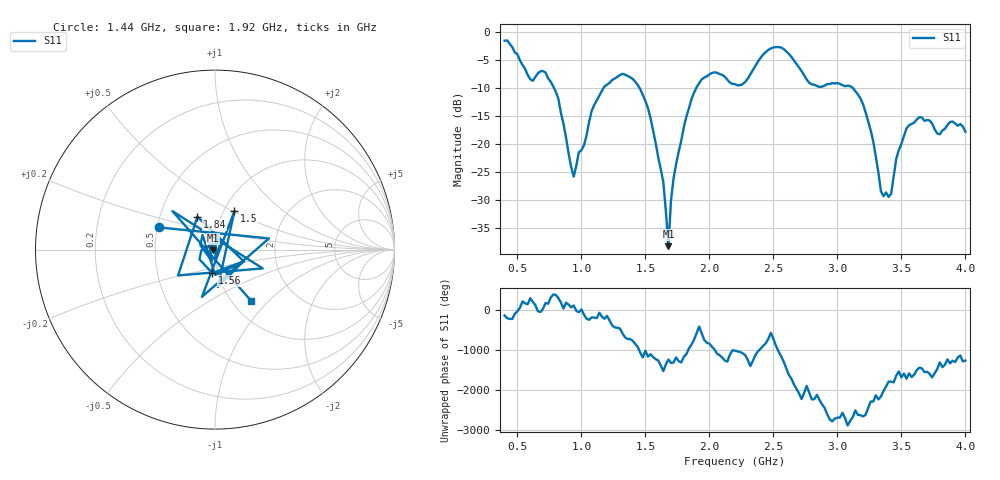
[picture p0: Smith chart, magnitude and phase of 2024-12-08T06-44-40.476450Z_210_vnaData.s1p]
!Created with skrf (http://scikit-rf.org).
# Hz S RI R 50.0
!freq ReS11 ImS11
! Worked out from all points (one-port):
!   181 points, 400 MHz to 4 GHz, reference 50 ohm
!   lowest |S11| = -38.2 dB at 1.68 GHz (marker M1), VSWR 1.02, Z = 48.9 - j0.461 ohm
!   |S11| at or under -10 dB: 785.4 MHz to 1.174 GHz (388.5 MHz wide, 39.7 % of centre); 1.453 GHz to 1.898 GHz (444.7 MHz wide, 26.5 % of centre); 3.12 GHz to end of sweep
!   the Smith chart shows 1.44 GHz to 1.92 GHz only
!   S11 on the Smith chart (normalised r, x): 1.44 GHz: 0.51, +0.14; 1.5 GHz: 1.12, +0.51; 1.56 GHz: 0.94, -0.25; 1.84 GHz: 0.77, +0.30; 1.92 GHz: 1.22, -0.79
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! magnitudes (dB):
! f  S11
! 400 MHz  -1.6
! 600 MHz  -8.5
! 720 MHz  -7.3
! 860 MHz  -16.4
! 940 MHz  -25.8
! 1.1 GHz  -13.1
! 1.3 GHz  -7.8
! 1.44 GHz  -9.5
! 1.5 GHz  -12.4
! 1.56 GHz  -17.6
! 1.64 GHz  -26.8
! 1.68 GHz  -38.2
! 1.7 GHz  -30.0
! 1.76 GHz  -21.4
! 1.84 GHz  -13.7
! 1.92 GHz  -9.2
! 2.04 GHz  -7.2
! 2.2 GHz  -9.3
! 2.48 GHz  -3.0
! 2.66 GHz  -5.1
! 2.8 GHz  -9.4
! 3.1 GHz  -9.7
! 3.22 GHz  -14.3
! 3.36 GHz  -29.3
! 3.42 GHz  -28.9
! 3.46 GHz  -22.6
! 3.56 GHz  -16.7
! 4 GHz  -17.8
